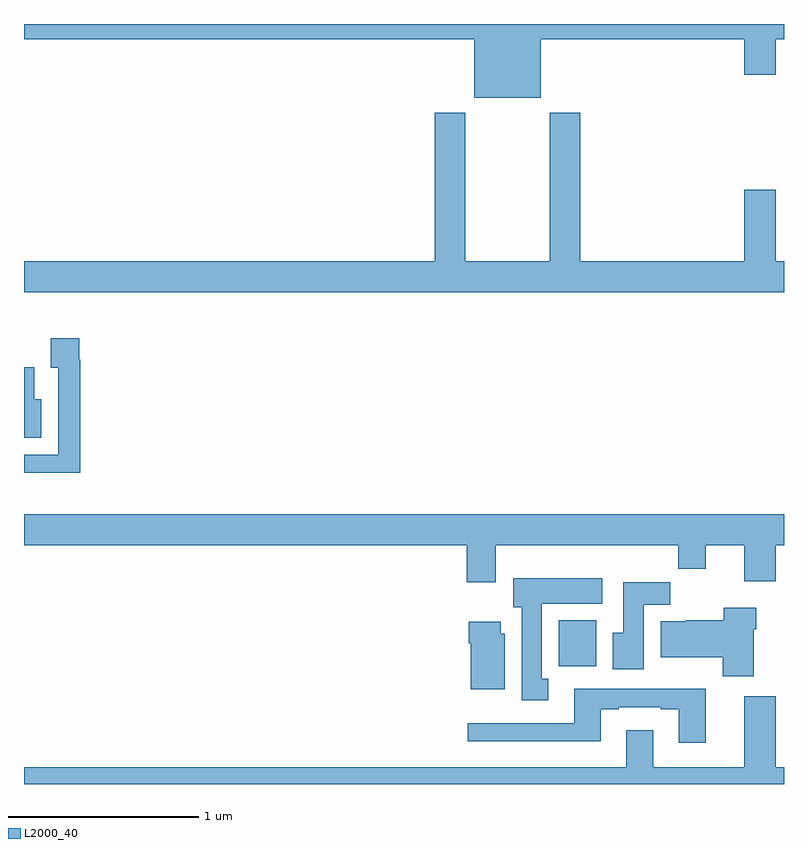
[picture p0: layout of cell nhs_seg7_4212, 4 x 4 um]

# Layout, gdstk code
import gdstk
lib = gdstk.Library(unit=1e-6, precision=1e-09)
def R(c, l, rs):  # rectangles x0, y0, x1, y1
    for r in rs: c.add(gdstk.rectangle(r[:2], r[2:], *l))
def P(c, l, *ps):  # polygons
    for p in ps: c.add(gdstk.Polygon(p, *l))
L2000_40 = (2000, 40)

nhs_seg7_4212 = lib.new_cell('nhs_seg7_4212')
R(nhs_seg7_4212, L2000_40, [(379.814,1026.62,380.011,1026.862)])
P(nhs_seg7_4212, L2000_40, [(379.72,1029.92),(380.792,1029.92),(380.792,1029.732),(380.956,1029.732),(380.956,1029.92),(381,1029.92),(381,1030),(377,1030),(377,1029.92),(379.37,1029.92),(379.37,1029.611),(379.72,1029.611)],
  [(381,1028.752),(380.956,1028.752),(380.956,1029.127),(380.792,1029.127),(380.792,1028.752),(379.928,1028.752),(379.928,1029.532),(379.768,1029.532),(379.768,1028.752),(379.323,1028.752),(379.323,1029.532),(379.163,1029.532),(379.163,1028.752),(377,1028.752),(377,1028.588),(381,1028.588)],
  [(377.297,1028.234),(377.29,1028.234),(377.29,1028.347),(377.141,1028.347),(377.141,1028.191),(377.181,1028.191),(377.181,1027.734),(377,1027.734),(377,1027.638),(377.005,1027.638),(377.005,1027.637),(377.297,1027.637)],
  [(377.092,1028.026),(377.053,1028.026),(377.053,1028.194),(377,1028.194),(377,1027.823),(377.092,1027.823)],
  [(379.483,1027.256),(380.443,1027.256),(380.443,1027.132),(380.587,1027.132),(380.587,1027.256),(380.792,1027.256),(380.792,1027.068),(380.956,1027.068),(380.956,1027.256),(381,1027.256),(381,1027.42),(377,1027.42),(377,1027.256),(379.331,1027.256),(379.331,1027.062),(379.483,1027.062)],
  [(379.759,1026.554),(379.726,1026.554),(379.726,1026.95),(380.044,1026.95),(380.044,1027.084),(379.574,1027.084),(379.574,1026.93),(379.619,1026.93),(379.619,1026.441),(379.759,1026.441)],
  [(380.263,1026.944),(380.402,1026.944),(380.402,1027.063),(380.153,1027.063),(380.153,1026.796),(380.099,1026.796),(380.099,1026.603),(380.263,1026.603)],
  [(380.842,1026.815),(380.855,1026.815),(380.855,1026.928),(380.684,1026.928),(380.684,1026.862),(380.484,1026.862),(380.484,1026.856),(380.351,1026.856),(380.351,1026.668),(380.677,1026.668),(380.677,1026.567),(380.842,1026.567)],
  [(379.531,1026.792),(379.51,1026.792),(379.51,1026.853),(379.34,1026.853),(379.34,1026.74),(379.352,1026.74),(379.352,1026.5),(379.531,1026.5)],
  [(380.587,1026.502),(380.355,1026.502),(380.355,1026.501),(379.895,1026.501),(379.895,1026.321),(379.335,1026.321),(379.335,1026.224),(380.035,1026.224),(380.035,1026.393),(380.131,1026.393),(380.131,1026.405),(380.351,1026.405),(380.351,1026.393),(380.447,1026.393),(380.447,1026.216),(380.587,1026.216)],
  [(381,1026.088),(380.956,1026.088),(380.956,1026.463),(380.792,1026.463),(380.792,1026.088),(380.311,1026.088),(380.311,1026.283),(380.171,1026.283),(380.171,1026.088),(377,1026.088),(377,1026),(381,1026)])

lib.write_gds('nhs_seg7_4212.gds')
